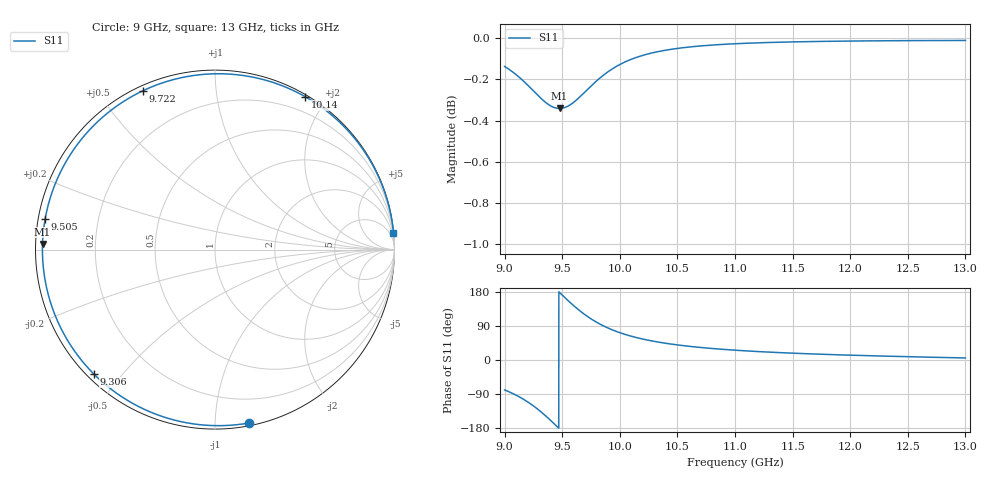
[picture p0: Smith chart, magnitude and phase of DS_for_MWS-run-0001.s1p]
! TOUCHSTONE file generated by CST DESIGN STUDIO
! Date and time: Tue Feb  4 17:46:09 2025
! Project name: C:\Work\MatlabApps\UnitCellOptimizationMatlab\CST\unitcell.cst
! Tree item: Tasks\Sweep1\SPara1\S-Parameters
! Header version: 2024
! Port assignment regex: !\s*Touchstone port\s*([0-9]+)\s*=\s*(CST MWS port|CST DES external port|CST DES block port)\s*(.+)\s* \(\"(.*)\"\)(\s*mode\s*([0-9]+))?.*
! Touchstone port assignment:
! Touchstone port 1 = CST DES external port 1 ("")
# GHz S MA R 50
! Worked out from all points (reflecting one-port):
!   4001 points, 9 GHz to 13 GHz, reference 50 ohm
!   lowest |S11| = -0.3 dB at 9.477 GHz (marker M1), VSWR 50.95, Z = 0.982 + j0.834 ohm
!   phase of S11 starts at -79 deg and turns -276 deg over the sweep
!   S11 on the Smith chart (normalised r, x): 9 GHz: 0.02, -1.21; 9.306 GHz: 0.02, -0.42; 9.505 GHz: 0.02, +0.09; 9.722 GHz: 0.02, +0.65; 10.14 GHz: 0.02, +1.75; 13 GHz: 0, +21
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9  0.9844 -79.0
9.076  0.9811 -89.2
9.173  0.9758 -105.3
9.242  0.9715 -119.3
9.306  0.9675 -134.3
9.351  0.965 -146.0
9.398  0.963 -159.0
9.438  0.9619 -170.5
9.477  0.9615 178.1
9.5  0.9616 171.4
9.505  0.9617 169.9
9.557  0.963 155.0
9.617  0.9657 138.8
9.669  0.9687 126.0
9.722  0.9719 114.3
9.778  0.9753 103.3
9.84  0.9787 92.8
9.919  0.9824 81.6
10  0.9854 72.1
10.141  0.9893 59.4
10.303  0.9922 48.9
10.5  0.9944 39.8
10.722  0.9959 32.5
11  0.997 25.9
11.5  0.998 18.0
12  0.9985 12.7
12.5  0.9987 8.7
13  0.9988 5.4
